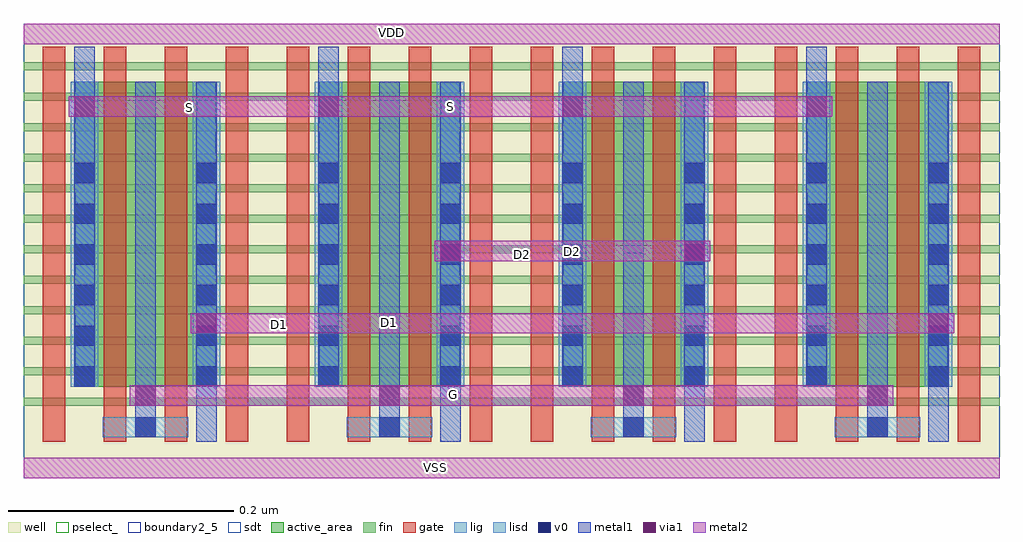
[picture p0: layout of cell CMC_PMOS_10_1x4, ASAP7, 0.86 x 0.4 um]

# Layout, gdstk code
import gdstk
lib = gdstk.Library(unit=1e-6, precision=2.5e-10)
def R(c, l, rs):  # rectangles x0, y0, x1, y1
    for r in rs: c.add(gdstk.rectangle(r[:2], r[2:], *l))
def A(c, l, x, y, w, h, nx, ny, dx, dy):  # array of equal rectangles
    R(c, l, [(x+i*dx, y+j*dy, x+i*dx+w, y+j*dy+h) for i in range(nx) for j in range(ny)])
well = (1, 0)
fin = (2, 0)
gate = (7, 0)
active_area = (11, 0)
pselect_ = (13, 0)
lig = (16, 0)
lisd = (17, 0)
v0 = (18, 0)
metal1 = (19, 0)
metal2 = (20, 0)
via1 = (21, 0)
sdt = (88, 0)
boundary2_5 = (235, 5)

m2_m1_cdns_543977064240 = lib.new_cell('M2_M1_CDNS_543977064240')
R(m2_m1_cdns_543977064240, metal1, [(-0.009,-0.014,0.009,0.014)])
R(m2_m1_cdns_543977064240, metal2, [(-0.014,-0.009,0.014,0.009)])
R(m2_m1_cdns_543977064240, via1, [(-0.009,-0.009,0.009,0.009)])

cmc_pmos_10_1x4 = lib.new_cell('CMC_PMOS_10_1x4')
A(cmc_pmos_10_1x4, well, 0, 0, 0.216, 0.402, 4, 1, 0.216, 0)
A(cmc_pmos_10_1x4, fin, 0, 0.064, 0.216, 0.007, 4, 9, 0.216, 0.027)
A(cmc_pmos_10_1x4, fin, 0, 0.361, 0.216, 0.007, 4, 1, 0.216, 0)
R(cmc_pmos_10_1x4, fin, [(0,0.307,0.216,0.314), (0,0.307,0.216,0.314), (0.216,0.307,0.432,0.314), (0.216,0.307,0.432,0.314), (0.432,0.307,0.648,0.314), (0.432,0.307,0.648,0.314), (0.648,0.307,0.864,0.314), (0.648,0.307,0.864,0.314), (0,0.334,0.216,0.341), (0,0.334,0.216,0.341), (0.216,0.334,0.432,0.341), (0.216,0.334,0.432,0.341), (0.432,0.334,0.648,0.341), (0.432,0.334,0.648,0.341), (0.648,0.334,0.864,0.341), (0.648,0.334,0.864,0.341)])
A(cmc_pmos_10_1x4, gate, 0.017, 0.032, 0.02, 0.35, 16, 1, 0.054, 0)
A(cmc_pmos_10_1x4, active_area, 0.046, 0.081, 0.124, 0.27, 4, 1, 0.216, 0)
A(cmc_pmos_10_1x4, pselect_, 0, 0, 0.216, 0.402, 4, 1, 0.216, 0)
A(cmc_pmos_10_1x4, lig, 0.07, 0.036, 0.076, 0.018, 4, 1, 0.216, 0)
A(cmc_pmos_10_1x4, lisd, 0.042, 0.081, 0.024, 0.27, 8, 1, 0.108, 0)
A(cmc_pmos_10_1x4, v0, 0.099, 0.036, 0.018, 0.018, 4, 1, 0.216, 0)
A(cmc_pmos_10_1x4, v0, 0.045, 0.081, 0.018, 0.018, 8, 6, 0.108, 0.036)
A(cmc_pmos_10_1x4, metal1, 0.153, 0.032, 0.018, 0.319, 4, 1, 0.216, 0)
A(cmc_pmos_10_1x4, metal1, 0.099, 0.036, 0.018, 0.315, 4, 1, 0.216, 0)
A(cmc_pmos_10_1x4, metal1, 0.045, 0.081, 0.018, 0.301, 4, 1, 0.216, 0)
R(cmc_pmos_10_1x4, metal1, [(0.153,0.123,0.171,0.151)])
R(cmc_pmos_10_1x4, metal2, [(0,0,0.864,0.018), (0,0,0.864,0.018), (0.094,0.064,0.77,0.082), (0.094,0.064,0.77,0.082), (0.148,0.128,0.824,0.146), (0.148,0.128,0.824,0.146), (0.148,0.128,0.176,0.146), (0.364,0.192,0.608,0.21), (0.364,0.192,0.608,0.21), (0.04,0.32,0.716,0.338), (0.04,0.32,0.716,0.338), (0,0.384,0.864,0.402), (0,0.384,0.864,0.402)])
R(cmc_pmos_10_1x4, via1, [(0.153,0.128,0.171,0.146)])
A(cmc_pmos_10_1x4, sdt, 0.042, 0.081, 0.024, 0.27, 8, 1, 0.108, 0)
R(cmc_pmos_10_1x4, boundary2_5, [(0,0,0.864,0.402)])
cmc_pmos_10_1x4.add(gdstk.Reference(m2_m1_cdns_543977064240, (0.486,0.329)))
cmc_pmos_10_1x4.add(gdstk.Reference(m2_m1_cdns_543977064240, (0.27,0.329)))
cmc_pmos_10_1x4.add(gdstk.Reference(m2_m1_cdns_543977064240, (0.378,0.201)))
cmc_pmos_10_1x4.add(gdstk.Reference(m2_m1_cdns_543977064240, (0.108,0.073), x_reflection=True))
cmc_pmos_10_1x4.add(gdstk.Reference(m2_m1_cdns_543977064240, (0.324,0.073), x_reflection=True))
cmc_pmos_10_1x4.add(gdstk.Reference(m2_m1_cdns_543977064240, (0.54,0.073), x_reflection=True))
cmc_pmos_10_1x4.add(gdstk.Reference(m2_m1_cdns_543977064240, (0.756,0.073), x_reflection=True))
cmc_pmos_10_1x4.add(gdstk.Reference(m2_m1_cdns_543977064240, (0.054,0.329)))
cmc_pmos_10_1x4.add(gdstk.Reference(m2_m1_cdns_543977064240, (0.702,0.329)))
cmc_pmos_10_1x4.add(gdstk.Reference(m2_m1_cdns_543977064240, (0.81,0.137)))
cmc_pmos_10_1x4.add(gdstk.Reference(m2_m1_cdns_543977064240, (0.594,0.201)))
cmc_pmos_10_1x4.add(gdstk.Label('D2', (0.442,0.198), layer=20, texttype=0))
cmc_pmos_10_1x4.add(gdstk.Label('D1', (0.227,0.136), layer=20, texttype=0))
cmc_pmos_10_1x4.add(gdstk.Label('VSS', (0.365,0.009), layer=20, texttype=0))
cmc_pmos_10_1x4.add(gdstk.Label('G', (0.381,0.074), layer=20, texttype=0))
cmc_pmos_10_1x4.add(gdstk.Label('D2', (0.486,0.201), layer=20, texttype=0))
cmc_pmos_10_1x4.add(gdstk.Label('D1', (0.324,0.138), layer=20, texttype=0))
cmc_pmos_10_1x4.add(gdstk.Label('VDD', (0.326,0.394), layer=20, texttype=0))
cmc_pmos_10_1x4.add(gdstk.Label('S', (0.147,0.328), layer=20, texttype=0))
cmc_pmos_10_1x4.add(gdstk.Label('S', (0.378,0.329), layer=20, texttype=0))

lib.write_gds('CMC_PMOS_10_1x4.gds')
